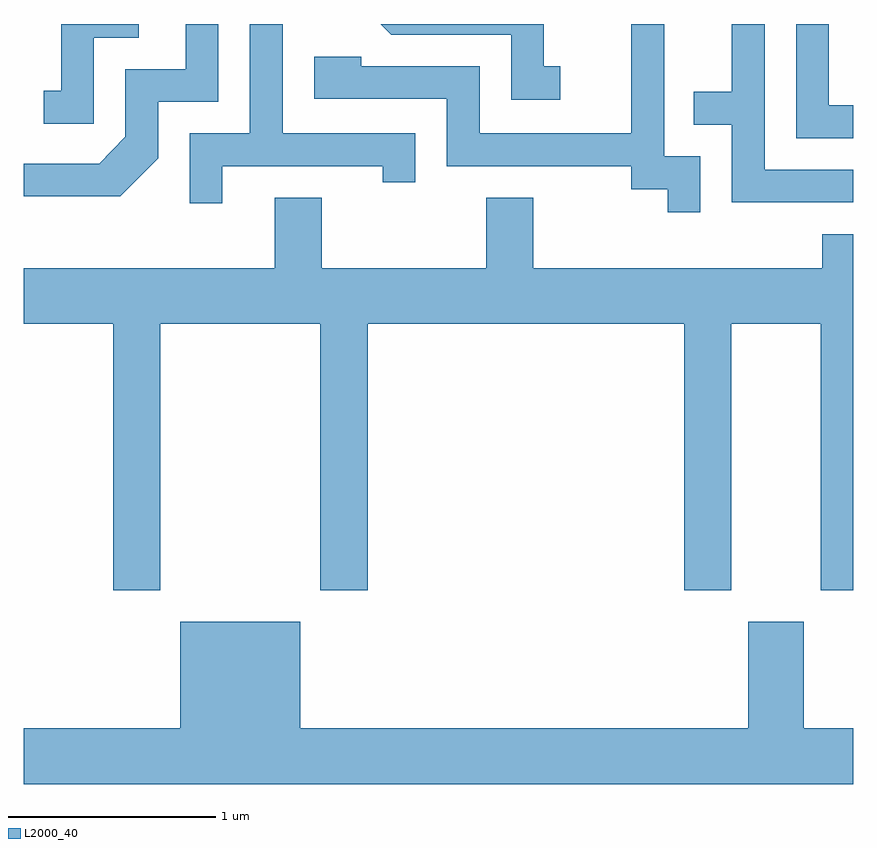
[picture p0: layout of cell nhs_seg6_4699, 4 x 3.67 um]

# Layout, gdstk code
import gdstk
lib = gdstk.Library(unit=1e-6, precision=1e-09)
def P(c, l, *ps):  # polygons
    for p in ps: c.add(gdstk.Polygon(p, *l))
L2000_40 = (2000, 40)

nhs_seg6_4699 = lib.new_cell('nhs_seg6_4699')
P(nhs_seg6_4699, L2000_40, [(329.949,1538.096),(330.164,1538.096),(330.164,1538.162),(329.791,1538.162),(329.791,1537.839),(329.708,1537.839),(329.708,1537.681),(329.949,1537.681)],
  [(330.259,1537.514),(330.259,1537.786),(330.549,1537.786),(330.549,1538.162),(330.391,1538.162),(330.391,1537.944),(330.101,1537.944),(330.101,1537.617),(329.974,1537.489),(329.611,1537.489),(329.611,1537.331),(330.077,1537.331)],
  [(332.198,1537.959),(332.119,1537.959),(332.119,1538.162),(331.333,1538.162),(331.384,1538.111),(331.961,1538.111),(331.961,1537.796),(332.198,1537.796)],
  [(330.569,1537.476),(331.341,1537.476),(331.341,1537.398),(331.499,1537.398),(331.499,1537.634),(330.859,1537.634),(330.859,1538.162),(330.701,1538.162),(330.701,1537.634),(330.411,1537.634),(330.411,1537.298),(330.569,1537.298)],
  [(333.611,1537.769),(333.494,1537.769),(333.494,1538.162),(333.336,1538.162),(333.336,1537.611),(333.611,1537.611)],
  [(332.874,1537.524),(332.699,1537.524),(332.699,1538.162),(332.541,1538.162),(332.541,1537.634),(331.809,1537.634),(331.809,1537.959),(331.239,1537.959),(331.239,1538.004),(331.011,1538.004),(331.011,1537.801),(331.651,1537.801),(331.651,1537.476),(332.541,1537.476),(332.541,1537.366),(332.716,1537.366),(332.716,1537.253),(332.874,1537.253)],
  [(333.611,1537.459),(333.184,1537.459),(333.184,1538.162),(333.026,1538.162),(333.026,1537.834),(332.843,1537.834),(332.843,1537.676),(333.026,1537.676),(333.026,1537.301),(333.611,1537.301)],
  [(330.269,1536.716),(331.041,1536.716),(331.041,1535.431),(331.269,1535.431),(331.269,1536.716),(332.796,1536.716),(332.796,1535.431),(333.024,1535.431),(333.024,1536.716),(333.456,1536.716),(333.456,1535.431),(333.611,1535.431),(333.611,1537.149),(333.461,1537.149),(333.461,1536.984),(332.069,1536.984),(332.069,1537.324),(331.841,1537.324),(331.841,1536.984),(331.049,1536.984),(331.049,1537.324),(330.821,1537.324),(330.821,1536.984),(329.611,1536.984),(329.611,1536.716),(330.041,1536.716),(330.041,1535.431),(330.269,1535.431)],
  [(333.611,1534.764),(333.374,1534.764),(333.374,1535.279),(333.106,1535.279),(333.106,1534.764),(330.944,1534.764),(330.944,1535.279),(330.366,1535.279),(330.366,1534.764),(329.611,1534.764),(329.611,1534.496),(333.611,1534.496)])

lib.write_gds('nhs_seg6_4699.gds')
